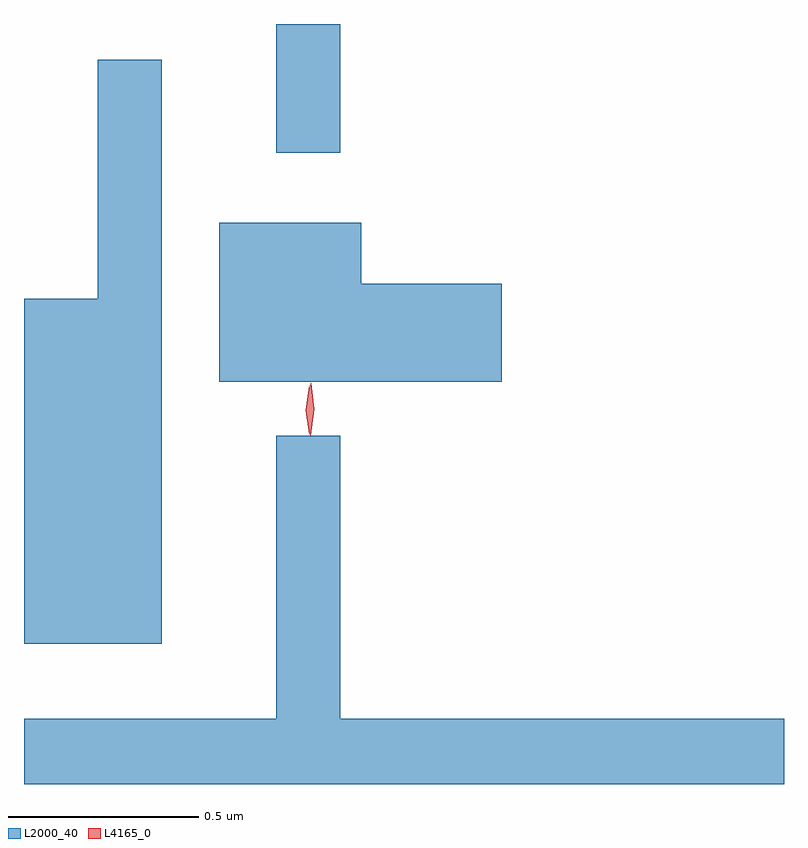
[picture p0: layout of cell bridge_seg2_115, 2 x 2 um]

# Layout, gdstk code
import gdstk
lib = gdstk.Library(unit=1e-6, precision=1e-09)
def R(c, l, rs):  # rectangles x0, y0, x1, y1
    for r in rs: c.add(gdstk.rectangle(r[:2], r[2:], *l))
def P(c, l, *ps):  # polygons
    for p in ps: c.add(gdstk.Polygon(p, *l))
L2000_40 = (2000, 40)
L4165_0 = (4165, 0)

bridge_seg2_115 = lib.new_cell('bridge_seg2_115')
R(bridge_seg2_115, L2000_40, [(922.341,1050.073,922.509,1050.412)])
P(bridge_seg2_115, L2000_40, [(922.039,1050.318),(921.871,1050.318),(921.871,1049.689),(921.677,1049.689),(921.677,1048.781),(922.039,1048.781)],
  [(922.934,1049.729),(922.564,1049.729),(922.564,1049.889),(922.191,1049.889),(922.191,1049.471),(922.934,1049.471)],
  [(922.509,1049.328),(922.341,1049.328),(922.341,1048.584),(921.677,1048.584),(921.677,1048.412),(923.677,1048.412),(923.677,1048.584),(922.509,1048.584)])
P(bridge_seg2_115, L4165_0, [(922.43,1049.33),(922.43,1049.33),(922.421,1049.398),(922.432,1049.466),(922.432,1049.466),(922.433,1049.466),(922.441,1049.398),(922.431,1049.33)],
  [(922.427,1049.333),(922.418,1049.396),(922.427,1049.46),(922.428,1049.46),(922.428,1049.46),(922.438,1049.396),(922.428,1049.333),(922.428,1049.333)])

lib.write_gds('bridge_seg2_115.gds')
